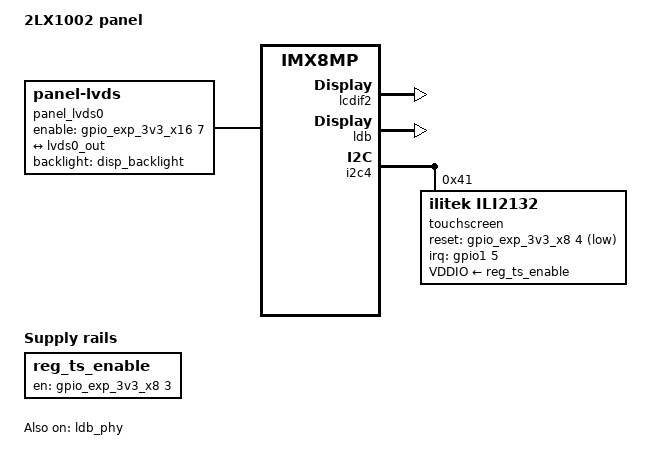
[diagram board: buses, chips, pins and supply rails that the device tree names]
/dts-v1/;

#include "imx8mp-egf-2lx100x.dtsi"

/ {
	model = "2LX1002 panel";
	compatible = "fsl,imx8mp";


	panel_lvds0: panel-lvds0  {
		compatible = "panel-lvds";
		backlight = <&disp_backlight>;
		width-mm = <222>;
		height-mm = <125>;
		enable-gpios = <&gpio_exp_3v3_x16 7 0>;
		data-mapping = "vesa-24";

		panel-timing {
			clock-frequency = <49500000>;
			hactive = <1024>;
			vactive = <600>;
			hback-porch = <160>;
			hfront-porch = <160>;
			vback-porch = <23>;
			vfront-porch = <12>;
			hsync-len = <10>;
			vsync-len = <10>;
			de-active = <1>;
			vsync-active = <0>;
			hsync-active = <0>;
			pixelclk-active = <1>;
		};

		port {
			panel0_in: endpoint {
				remote-endpoint = <&lvds0_out>;
			};
		};


	};

	reg_ts_enable: regulator-ts-ena  {
        compatible = "regulator-fixed";
        regulator-name = "regulator-ts-ena";	
        gpio = <&gpio_exp_3v3_x8 3 GPIO_ACTIVE_HIGH>;
        enable-active-high;
        regulator-always-on;
    };

};

&clk {
	assigned-clock-rates = <0>, <0>,
							<1000000000>,
							<800000000>,
							<500000000>,
							<400000000>,
							<800000000>,
							<393216000>,
							<361267200>,
							<1039500000>,
							<363825000>;
};

/* LVDS */
&lcdif2 {
	status = "okay";
};

&ldb {
	status = "okay";

	lvds-channel@0 {
		fsl,data-mapping = "spwg";
		fsl,data-width = <24>;
		status = "okay";
		
		port@1 {
			reg = <1>;
			lvds0_out: endpoint {
				remote-endpoint = <&panel0_in>;
			};
		};
	};
};

&ldb_phy {
	status = "okay";
};

&i2c4 {
	touchscreen@41 {
		compatible = "ilitek,ili2132";
		reg = <0x41>;
		interrupt-parent = <&gpio1>;
		interrupts = <5 IRQ_TYPE_EDGE_FALLING>;
		reset-gpios = <&gpio_exp_3v3_x8 4 GPIO_ACTIVE_LOW>;
		wakeup-source;
		VDDIO-supply = <&reg_ts_enable>;
	};
};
